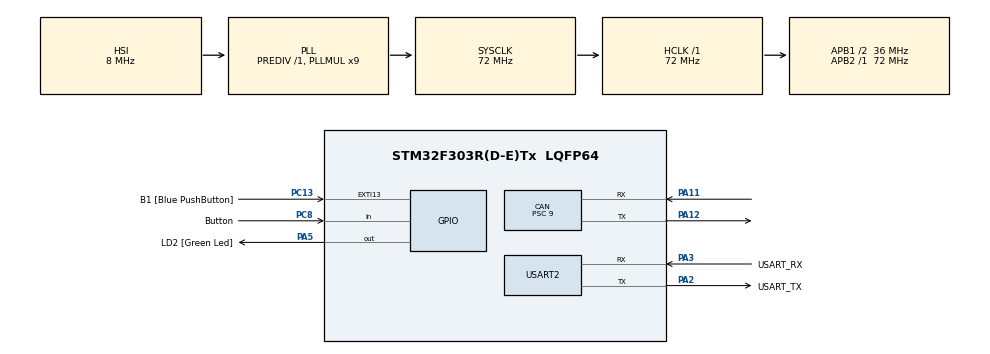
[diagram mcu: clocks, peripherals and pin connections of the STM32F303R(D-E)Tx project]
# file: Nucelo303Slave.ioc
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CAN.BS1=CAN_BS1_13TQ
CAN.BS2=CAN_BS2_2TQ
CAN.CalculateTimeQuantum=250.0
CAN.Prescaler=9
Mcu.Family=STM32F3
Mcu.Name=STM32F303R(D-E)Tx
Mcu.Package=LQFP64
NVIC.PriorityGroup=NVIC_PRIORITYGROUP_0
PA11.Mode=Master
PA11.Signal=CAN_RX
PA12.Mode=Master
PA12.Signal=CAN_TX
PA13.GPIO_Label=TMS
PA13.Mode=Serial_Wire
PA13.Signal=SYS_JTMS-SWDIO
PA14.GPIO_Label=TCK
PA14.Mode=Serial_Wire
PA14.Signal=SYS_JTCK-SWCLK
PA2.GPIO_Label=USART_TX
PA2.GPIO_Mode=GPIO_MODE_AF_PP
PA2.GPIO_PuPd=GPIO_NOPULL
PA2.GPIO_Speed=GPIO_SPEED_FREQ_LOW
PA2.Mode=Asynchronous
PA2.Signal=USART2_TX
PA3.GPIO_Label=USART_RX
PA3.GPIO_Mode=GPIO_MODE_AF_PP
PA3.GPIO_PuPd=GPIO_NOPULL
PA3.GPIO_Speed=GPIO_SPEED_FREQ_LOW
PA3.Mode=Asynchronous
PA3.Signal=USART2_RX
PA5.GPIO_Label=LD2 [Green Led]
PA5.GPIO_Mode=GPIO_MODE_OUTPUT_PP
PA5.GPIO_PuPd=GPIO_NOPULL
PA5.GPIO_Speed=GPIO_SPEED_FREQ_LOW
PA5.Signal=GPIO_Output
PB3.GPIO_Label=SWO
PB3.Signal=SYS_JTDO-TRACESWO
PC13.GPIO_Label=B1 [Blue PushButton]
PC13.GPIO_ModeDefaultEXTI=GPIO_MODE_IT_FALLING
PC13.Signal=GPXTI13
PC14-OSC32_IN.Mode=LSE-External-Oscillator
PC14-OSC32_IN.Signal=RCC_OSC32_IN
PC15-OSC32_OUT.Mode=LSE-External-Oscillator
PC15-OSC32_OUT.Signal=RCC_OSC32_OUT
PC8.GPIO_Label=Button
PC8.GPIO_PuPd=GPIO_NOPULL
PC8.Signal=GPIO_Input
PF0-OSC_IN.Mode=HSE-External-Clock-Source
PF0-OSC_IN.Signal=RCC_OSC_IN
PF1-OSC_OUT.Signal=RCC_OSC_OUT
ProjectManager.HeapSize=0x200
ProjectManager.StackSize=0x400
ProjectManager.TargetToolchain=STM32CubeIDE
RCC.AHBFreq_Value=72000000
RCC.APB1CLKDivider=RCC_HCLK_DIV2
RCC.APB1Freq_Value=36000000
RCC.APB1TimFreq_Value=72000000
RCC.APB2Freq_Value=72000000
RCC.APB2TimFreq_Value=72000000
RCC.CortexFreq_Value=72000000
RCC.HCLKFreq_Value=72000000
RCC.HSE_VALUE=8000000
RCC.HSI_VALUE=8000000
RCC.PLLM=8
RCC.PLLMUL=RCC_PLL_MUL9
RCC.PLLN=336
RCC.PLLP=RCC_PLLP_DIV4
RCC.PLLQ=7
RCC.RCC_PLLsource_Clock_Source_FROM_HSE=RCC_HSE_PREDIV_DIV2
RCC.SYSCLKFreq_VALUE=72000000
RCC.SYSCLKSourceVirtual=RCC_SYSCLKSOURCE_PLLCLK
RCC.USBFreq_Value=72000000
USART2.VirtualMode-Asynchronous=VM_ASYNC
VP_CRC_VS_CRC.Mode=CRC_Activate
board=NUCLEO-F303RE

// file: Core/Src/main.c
/* USER CODE BEGIN Header */
/**
  ******************************************************************************
  * @file           : main.c
  * @brief          : Main program body
  ******************************************************************************
  * @attention
  *
  * <h2><center>&copy; Copyright (c) 2020 STMicroelectronics.
  * All rights reserved.</center></h2>
  *
  * This software component is licensed by ST under BSD 3-Clause license,
  * the "License"; You may not use this file except in compliance with the
  * License. You may obtain a copy of the License at:
  *                        opensource.org/licenses/BSD-3-Clause
  *
  ******************************************************************************
  */

/* USER CODE END Header */

#include "main.h"

/* USER CODE BEGIN Includes */
#include "can.h"
#include "ymodem.h"
#include "flash_if.h"
/* USER CODE END Includes */

CAN_HandleTypeDef hcan;

CRC_HandleTypeDef hcrc;

UART_HandleTypeDef huart2;

void SystemClock_Config(void);
static void MX_GPIO_Init(void);
static void MX_USART2_UART_Init(void);
static void MX_CAN_Init(void);
static void MX_CRC_Init(void);
/* USER CODE BEGIN PFP */

CAN_FilterTypeDef sFilterConfig;
CAN_TxHeaderTypeDef pTxHeader;
CAN_RxHeaderTypeDef pRxHeader;
uint32_t TxMailBox;

uint8_t Txbuffer[8];
uint8_t Rxbuffer[8];

pFunction JumpToApplication;

uint8_t aFileName[FILE_NAME_LENGTH];
/* USER CODE END PFP */

/* USER CODE BEGIN 0 */
//uint8_t CheckBootloaderEnterON(void){
//	uint8_t result = 0;
//	if (HAL_GPIO_ReadPin(BOOT0_Port,BOOT0_Pin) == GPIO_PIN_SET){
//		result =1;
//	}
//	if (FlashGetBootLoaderFlag()==1){
//		result =1;
//	}
	/* for testing only on Nucleo board*/
//	if (HAL_GPIO_ReadPin(BUTTON_KEY_Port,BUTTON_KEY_Pin) == GPIO_PIN_SET){
//		result = 1;
//	}
//	return result;
//}
/* USER CODE END 0 */

int main(void)
{

  /* MCU Configuration--------------------------------------------------------*/

  /* Reset of all peripherals, Initializes the Flash interface and the Systick. */
  HAL_Init();

  /* Configure the system clock */
  SystemClock_Config();

  /* Initialize all configured peripherals */
  MX_GPIO_Init();
  MX_USART2_UART_Init();
  MX_CAN_Init();
  MX_CRC_Init();

  /* Infinite loop */

  /* USER CODE BEGIN 3 */
  if (HAL_GPIO_ReadPin(Button_GPIO_Port, Button_Pin) == GPIO_PIN_RESET){
	   boot_loader_manage();
  }

  else{
  	  boot_loader_jump_to_user_app();
  }
  /* USER CODE END 3 */

}
void SystemClock_Config(void)
{
  RCC_OscInitTypeDef RCC_OscInitStruct = {0};
  RCC_ClkInitTypeDef RCC_ClkInitStruct = {0};
  RCC_PeriphCLKInitTypeDef PeriphClkInit = {0};

  /** Initializes the CPU, AHB and APB busses clocks
  */
  RCC_OscInitStruct.OscillatorType = RCC_OSCILLATORTYPE_HSI;
  RCC_OscInitStruct.HSIState = RCC_HSI_ON;
  RCC_OscInitStruct.HSICalibrationValue = RCC_HSICALIBRATION_DEFAULT;
  RCC_OscInitStruct.PLL.PLLState = RCC_PLL_ON;
  RCC_OscInitStruct.PLL.PLLSource = RCC_PLLSOURCE_HSI;
  RCC_OscInitStruct.PLL.PLLMUL = RCC_PLL_MUL9;
  RCC_OscInitStruct.PLL.PREDIV = RCC_PREDIV_DIV1;
  if (HAL_RCC_OscConfig(&RCC_OscInitStruct) != HAL_OK)
  {
    Error_Handler();
  }
  /** Initializes the CPU, AHB and APB busses clocks
  */
  RCC_ClkInitStruct.ClockType = RCC_CLOCKTYPE_HCLK|RCC_CLOCKTYPE_SYSCLK
                              |RCC_CLOCKTYPE_PCLK1|RCC_CLOCKTYPE_PCLK2;
  RCC_ClkInitStruct.SYSCLKSource = RCC_SYSCLKSOURCE_PLLCLK;
  RCC_ClkInitStruct.AHBCLKDivider = RCC_SYSCLK_DIV1;
  RCC_ClkInitStruct.APB1CLKDivider = RCC_HCLK_DIV2;
  RCC_ClkInitStruct.APB2CLKDivider = RCC_HCLK_DIV1;

  if (HAL_RCC_ClockConfig(&RCC_ClkInitStruct, FLASH_LATENCY_2) != HAL_OK)
  {
    Error_Handler();
  }
  PeriphClkInit.PeriphClockSelection = RCC_PERIPHCLK_USART2;
  PeriphClkInit.Usart2ClockSelection = RCC_USART2CLKSOURCE_PCLK1;
  if (HAL_RCCEx_PeriphCLKConfig(&PeriphClkInit) != HAL_OK)
  {
    Error_Handler();
  }
}

static void MX_CAN_Init(void)
{

  hcan.Instance = CAN;
  hcan.Init.Prescaler = 9;
  hcan.Init.Mode = CAN_MODE_NORMAL;
  hcan.Init.SyncJumpWidth = CAN_SJW_1TQ;
  hcan.Init.TimeSeg1 = CAN_BS1_13TQ;
  hcan.Init.TimeSeg2 = CAN_BS2_2TQ;
  hcan.Init.TimeTriggeredMode = DISABLE;
  hcan.Init.AutoBusOff = DISABLE;
  hcan.Init.AutoWakeUp = DISABLE;
  hcan.Init.AutoRetransmission = DISABLE;
  hcan.Init.ReceiveFifoLocked = DISABLE;
  hcan.Init.TransmitFifoPriority = DISABLE;
  if (HAL_CAN_Init(&hcan) != HAL_OK)
  {
    Error_Handler();
  }
  /* USER CODE BEGIN CAN_Init 2 */
    sFilterConfig.FilterBank = 0;
  	sFilterConfig.FilterMode = CAN_FILTERMODE_IDMASK;
  	sFilterConfig.FilterFIFOAssignment = CAN_FILTER_FIFO0;
  	sFilterConfig.FilterIdHigh = 0x0000;
  	sFilterConfig.FilterIdLow = 0x0000;
  	sFilterConfig.FilterMaskIdHigh = 0;
  	sFilterConfig.FilterMaskIdLow = 0;
  	sFilterConfig.FilterScale = CAN_FILTERSCALE_32BIT;
  	sFilterConfig.FilterActivation = ENABLE;
  	sFilterConfig.SlaveStartFilterBank = 14;

  	pTxHeader.DLC = 8;
  	pTxHeader.IDE = CAN_ID_EXT;
  	pTxHeader.RTR = CAN_RTR_DATA;
  	pTxHeader.StdId = 16;
  	pTxHeader.ExtId = 0x01;
  	pTxHeader.TransmitGlobalTime = DISABLE;

  	if(HAL_CAN_ConfigFilter(&hcan, &sFilterConfig) != HAL_OK)
  	{
  		Error_Handler();
  	}

  	if (HAL_CAN_Start(&hcan) != HAL_OK)
		Error_Handler();

//	if (HAL_CAN_ActivateNotification(&hcan, CAN_IT_RX_FIFO0_MSG_PENDING  | CAN_IT_TX_MAILBOX_EMPTY) != HAL_OK)
//  {
//  		    /* Notification Error */
//		Error_Handler();
//  }
  /* USER CODE END CAN_Init 2 */

}

static void MX_CRC_Init(void)
{

  hcrc.Instance = CRC;
  hcrc.Init.DefaultPolynomialUse = DEFAULT_POLYNOMIAL_ENABLE;
  hcrc.Init.DefaultInitValueUse = DEFAULT_INIT_VALUE_ENABLE;
  hcrc.Init.InputDataInversionMode = CRC_INPUTDATA_INVERSION_NONE;
  hcrc.Init.OutputDataInversionMode = CRC_OUTPUTDATA_INVERSION_DISABLE;
  hcrc.InputDataFormat = CRC_INPUTDATA_FORMAT_BYTES;
  if (HAL_CRC_Init(&hcrc) != HAL_OK)
  {
    Error_Handler();
  }

}

static void MX_USART2_UART_Init(void)
{

  huart2.Instance = USART2;
  huart2.Init.BaudRate = 38400;
  huart2.Init.WordLength = UART_WORDLENGTH_8B;
  huart2.Init.StopBits = UART_STOPBITS_1;
  huart2.Init.Parity = UART_PARITY_NONE;
  huart2.Init.Mode = UART_MODE_TX_RX;
  huart2.Init.HwFlowCtl = UART_HWCONTROL_NONE;
  huart2.Init.OverSampling = UART_OVERSAMPLING_16;
  huart2.Init.OneBitSampling = UART_ONE_BIT_SAMPLE_DISABLE;
  huart2.AdvancedInit.AdvFeatureInit = UART_ADVFEATURE_NO_INIT;
  if (HAL_UART_Init(&huart2) != HAL_OK)
  {
    Error_Handler();
  }

}

static void MX_GPIO_Init(void)
{
  GPIO_InitTypeDef GPIO_InitStruct = {0};

  /* GPIO Ports Clock Enable */
  __HAL_RCC_GPIOC_CLK_ENABLE();
  __HAL_RCC_GPIOF_CLK_ENABLE();
  __HAL_RCC_GPIOA_CLK_ENABLE();
  __HAL_RCC_GPIOB_CLK_ENABLE();

  /*Configure GPIO pin Output Level */
  HAL_GPIO_WritePin(LD2_GPIO_Port, LD2_Pin, GPIO_PIN_RESET);

  /*Configure GPIO pin : B1_Pin */
  GPIO_InitStruct.Pin = B1_Pin;
  GPIO_InitStruct.Mode = GPIO_MODE_IT_FALLING;
  GPIO_InitStruct.Pull = GPIO_NOPULL;
  HAL_GPIO_Init(B1_GPIO_Port, &GPIO_InitStruct);

  /*Configure GPIO pin : LD2_Pin */
  GPIO_InitStruct.Pin = LD2_Pin;
  GPIO_InitStruct.Mode = GPIO_MODE_OUTPUT_PP;
  GPIO_InitStruct.Pull = GPIO_NOPULL;
  GPIO_InitStruct.Speed = GPIO_SPEED_FREQ_LOW;
  HAL_GPIO_Init(LD2_GPIO_Port, &GPIO_InitStruct);

  /*Configure GPIO pin : Button_Pin */
  GPIO_InitStruct.Pin = Button_Pin;
  GPIO_InitStruct.Mode = GPIO_MODE_INPUT;
  GPIO_InitStruct.Pull = GPIO_NOPULL;
  HAL_GPIO_Init(Button_GPIO_Port, &GPIO_InitStruct);

}

/* USER CODE BEGIN 4 */

void boot_loader_receive(CAN_HandleTypeDef *hcan)
{
  /* Get RX message */
	HAL_CAN_GetRxMessage(hcan, CAN_RX_FIFO0, &pRxHeader, Rxbuffer);
	HAL_GPIO_TogglePin(GPIOA, GPIO_PIN_5);
	CAN_Get_Command(Rxbuffer);
}
void boot_loader_manage(void){
	while (1)
	  {
		  if (HAL_CAN_GetRxFifoFillLevel(&hcan, CAN_RX_FIFO0) > 0){
			  boot_loader_receive(&hcan);
		 }
	 }
}
void boot_loader_jump_to_user_app(void){
	void (*app_reset_handler)(void);
	uint32_t msp_value = *(volatile uint32_t*)(APPLICATION_ADDRESS);
	__set_MSP(msp_value);
	uint32_t resethandler_address = *(volatile uint32_t*)(APPLICATION_ADDRESS +4);
	app_reset_handler = (void *) resethandler_address;
	app_reset_handler();
}
//void HAL_CAN_RxFifo0MsgPendingCallback(CAN_HandleTypeDef *hcan)
//{
//  /* Get RX message */
//  HAL_CAN_GetRxMessage(hcan, CAN_RX_FIFO0, &pRxHeader, Rxbuffer);
//  if(Rxbuffer[0] == 0x12)
//  	  HAL_GPIO_TogglePin(GPIOA, GPIO_PIN_5);

//      //HAL_UART_Transmit(&huart2, &ack, sizeof(ack), 0x2);
//
//}
/* USER CODE END 4 */

void Error_Handler(void)
{
}

/************************ (C) COPYRIGHT STMicroelectronics *****END OF FILE****/
